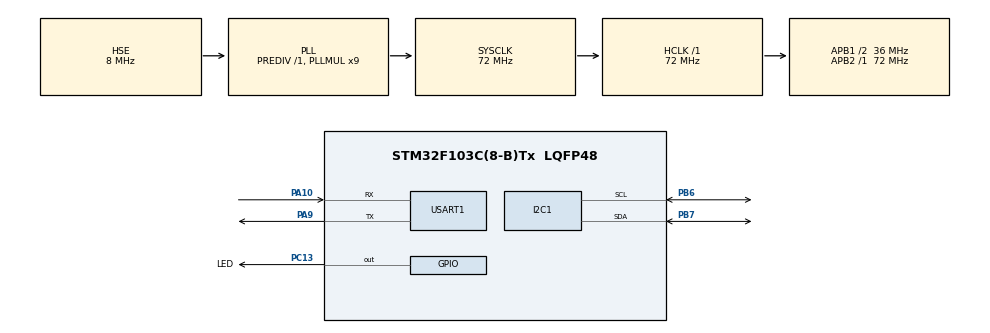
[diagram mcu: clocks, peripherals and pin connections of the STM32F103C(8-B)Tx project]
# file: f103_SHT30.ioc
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I2C1.I2C_Mode=I2C_Fast
Mcu.Family=STM32F1
Mcu.Name=STM32F103C(8-B)Tx
Mcu.Package=LQFP48
NVIC.PriorityGroup=NVIC_PRIORITYGROUP_4
PA10.Mode=Asynchronous
PA10.Signal=USART1_RX
PA13.Mode=Serial_Wire
PA13.Signal=SYS_JTMS-SWDIO
PA14.Mode=Serial_Wire
PA14.Signal=SYS_JTCK-SWCLK
PA9.Mode=Asynchronous
PA9.Signal=USART1_TX
PB6.Mode=I2C
PB6.Signal=I2C1_SCL
PB7.Mode=I2C
PB7.Signal=I2C1_SDA
PC13-TAMPER-RTC.GPIO_Label=LED
PC13-TAMPER-RTC.Signal=GPIO_Output
PD0-OSC_IN.Mode=HSE-External-Oscillator
PD0-OSC_IN.Signal=RCC_OSC_IN
PD1-OSC_OUT.Mode=HSE-External-Oscillator
PD1-OSC_OUT.Signal=RCC_OSC_OUT
ProjectManager.HeapSize=0x200
ProjectManager.StackSize=0x400
ProjectManager.TargetToolchain=STM32CubeIDE
RCC.AHBFreq_Value=72000000
RCC.APB1CLKDivider=RCC_HCLK_DIV2
RCC.APB1Freq_Value=36000000
RCC.APB1TimFreq_Value=72000000
RCC.APB2Freq_Value=72000000
RCC.APB2TimFreq_Value=72000000
RCC.HCLKFreq_Value=72000000
RCC.PLLMUL=RCC_PLL_MUL9
RCC.PLLSourceVirtual=RCC_PLLSOURCE_HSE
RCC.SYSCLKFreq_VALUE=72000000
RCC.SYSCLKSource=RCC_SYSCLKSOURCE_PLLCLK
RCC.USBFreq_Value=72000000
USART1.VirtualMode=VM_ASYNC
board=custom

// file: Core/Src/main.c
/* USER CODE BEGIN Header */
/**
  ******************************************************************************
  * @file           : main.c
  * @brief          : Main program body
  ******************************************************************************
  * @attention
  *
  * Copyright (c) 2025 STMicroelectronics.
  * All rights reserved.
  *
  * This software is licensed under terms that can be found in the LICENSE file
  * in the root directory of this software component.
  * If no LICENSE file comes with this software, it is provided AS-IS.
  *
  ******************************************************************************
  */
/* USER CODE END Header */
#include "main.h"
#include "i2c.h"
#include "usart.h"
#include "gpio.h"
#include "oled.h"
#include "bsp_sht30.h"
#include <stdio.h>
#include <string.h>

void SystemClock_Config(void);

int main(void)
{

  /* MCU Configuration--------------------------------------------------------*/

  /* Reset of all peripherals, Initializes the Flash interface and the Systick. */
  HAL_Init();

  /* Configure the system clock */
  SystemClock_Config();

  /* Initialize all configured peripherals */
  MX_GPIO_Init();
  MX_I2C1_Init();

  MX_USART1_UART_Init();
  char msg[50];
  float temp, humi;
  SHT30_Init(&hi2c1);

  /* USER CODE BEGIN 2 */
  OLED_Init();
  HAL_Delay(20);
  OLED_NewFrame();
  OLED_PrintString(4,20,"温度",&font16x16,0);
  OLED_PrintString(4,46,"湿度",&font16x16,0);
  //OLED_PrintString(0,0,"STM32_Temp_Humi",&afont16x8,0);
  OLED_ShowFrame();
  /* USER CODE END 2 */

  /* Infinite loop */
  /* USER CODE BEGIN WHILE */
  while (1)
  {
	  if(SHT30_ReadData(&hi2c1, &temp, &humi) == SHT30_OK)
	  {
		  if(temp>16&&temp<20) {OLED_PrintString(30,0,"凉爽",&font16x16,0); OLED_ShowFrame();}
		  if(temp>21&&temp<25) {OLED_PrintString(30,0,"舒适",&font16x16,0); OLED_ShowFrame();}
		  if(temp>26&&temp<31) {OLED_PrintString(30,0,"微热",&font16x16,0); OLED_ShowFrame();}
		  if(temp>31&&temp<35) {OLED_PrintString(30,0,"炎热",&font16x16,0); OLED_ShowFrame();}
		  if(temp>35) {OLED_PrintString(30,0,"酷热",&font16x16,0); OLED_ShowFrame();}
		  if(temp>10&&temp<15) {OLED_PrintString(30,0,"清冷",&font16x16,0); OLED_ShowFrame();}
		  if(temp>5&&temp<9) {OLED_PrintString(30,0,"寒冷",&font16x16,0); OLED_ShowFrame();}
		  if(temp<5) {OLED_PrintString(30,0,"严冷",&font16x16,0); OLED_ShowFrame();}

		  if(humi>30&&humi<50) {OLED_PrintString(65,0,"宜人",&font16x16,0); OLED_ShowFrame();}
		  if(humi>50&&humi<60) {OLED_PrintString(65,0,"润爽",&font16x16,0); OLED_ShowFrame();}
		  if(humi>60&&humi<70) {OLED_PrintString(65,0,"黏腻",&font16x16,0); OLED_ShowFrame();}
		  if(humi>70) {OLED_PrintString(65,0,"湿闷",&font16x16,0); OLED_ShowFrame();}
		  if(humi<30) {OLED_PrintString(65,0,"干燥",&font16x16,0); OLED_ShowFrame();}
		  sprintf(msg,"%.1f",temp);
		  OLED_PrintString(41,17,msg,&font16x16,0);
		  OLED_PrintString(96,23,"℃",&font16x16,0);
		  sprintf(msg,"%.1f",humi);
		  OLED_PrintString(41,42,msg,&font16x16,0);
		  OLED_PrintString(96,42,"%",&font16x16,0);
		  OLED_ShowFrame();
		  sprintf(msg,"Temperature=%.2f,Humidity=%.1f\r\n",temp,humi);
		  HAL_UART_Transmit(&huart1,(uint8_t*)msg,strlen(msg),500);
	   }

	  HAL_Delay(2000);
	  HAL_GPIO_TogglePin(LED_GPIO_Port,LED_Pin);
    /* USER CODE END WHILE */

  }
}

void SystemClock_Config(void)
{
  RCC_OscInitTypeDef RCC_OscInitStruct = {0};
  RCC_ClkInitTypeDef RCC_ClkInitStruct = {0};

  /** Initializes the RCC Oscillators according to the specified parameters
  * in the RCC_OscInitTypeDef structure.
  */
  RCC_OscInitStruct.OscillatorType = RCC_OSCILLATORTYPE_HSE;
  RCC_OscInitStruct.HSEState = RCC_HSE_ON;
  RCC_OscInitStruct.HSEPredivValue = RCC_HSE_PREDIV_DIV1;
  RCC_OscInitStruct.HSIState = RCC_HSI_ON;
  RCC_OscInitStruct.PLL.PLLState = RCC_PLL_ON;
  RCC_OscInitStruct.PLL.PLLSource = RCC_PLLSOURCE_HSE;
  RCC_OscInitStruct.PLL.PLLMUL = RCC_PLL_MUL9;
  if (HAL_RCC_OscConfig(&RCC_OscInitStruct) != HAL_OK)
  {
    Error_Handler();
  }

  /** Initializes the CPU, AHB and APB buses clocks
  */
  RCC_ClkInitStruct.ClockType = RCC_CLOCKTYPE_HCLK|RCC_CLOCKTYPE_SYSCLK
                              |RCC_CLOCKTYPE_PCLK1|RCC_CLOCKTYPE_PCLK2;
  RCC_ClkInitStruct.SYSCLKSource = RCC_SYSCLKSOURCE_PLLCLK;
  RCC_ClkInitStruct.AHBCLKDivider = RCC_SYSCLK_DIV1;
  RCC_ClkInitStruct.APB1CLKDivider = RCC_HCLK_DIV2;
  RCC_ClkInitStruct.APB2CLKDivider = RCC_HCLK_DIV1;

  if (HAL_RCC_ClockConfig(&RCC_ClkInitStruct, FLASH_LATENCY_2) != HAL_OK)
  {
    Error_Handler();
  }
}

void Error_Handler(void)
{
  __disable_irq();
  while (1)
  {
  }
}
